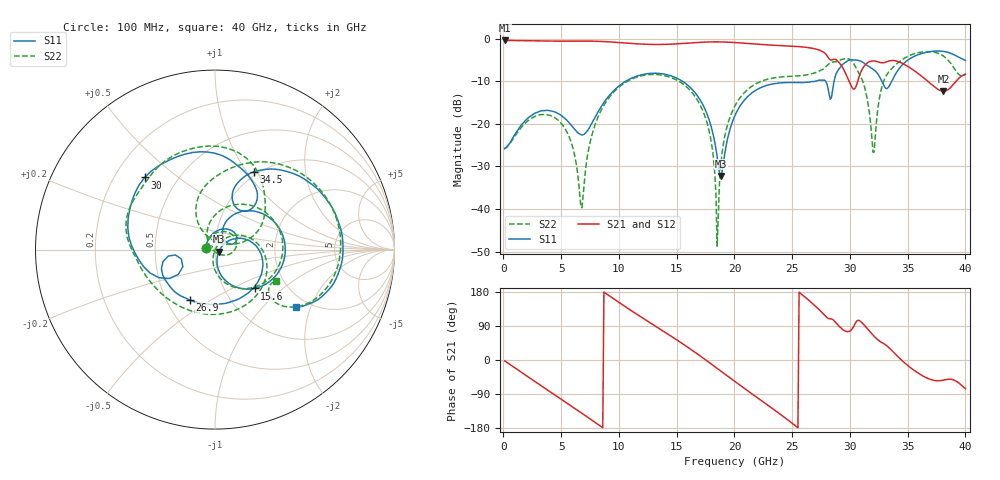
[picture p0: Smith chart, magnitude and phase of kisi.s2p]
! BV_ts_refinout2_q050: /TS-PCIe Components/REFINOUT2 via F.Cu→B.Cu at (204.176, 89.904)
! stackup: Thunderscope_Rev5.3 from the board file and its kisi.json
! ports: 1 in, 2 out
! kisi-fdtd, conformal, dfine 0.05 mm, 825588 cells
# Hz S RI R 50
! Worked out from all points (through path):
!   400 points, 100 MHz to 40 GHz, reference 50 ohm
!   highest |S21| = -0.45 dB at 100 MHz (marker M1); lowest = -12.4 dB at 38.1 GHz (marker M2)
!   group delay of S21, straight-line fit = 57.4 ps
!   lowest |S11| = -32.2 dB at 18.8 GHz (marker M3), VSWR 1.05, Z = 52.2 - j1.13 ohm
!   |S11| at or under -10 dB: start of sweep to 10.6 GHz; 15.48 GHz to 27.05 GHz (11.57 GHz wide, 54.4 % of centre); 32.76 GHz to 33.63 GHz (873.7 MHz wide, 2.63 % of centre)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
!   |S22| runs from -48.7 to -3.1 dB; largest |S21 - S12| = 0.0025
!   S11 on the Smith chart (normalised r, x): 100 MHz: 0.90, +0.01; 15.6 GHz: 1.38, -0.66; 26.9 GHz: 0.65, -0.41; 30 GHz: 0.33, +0.38; 34.5 GHz: 0.95, +1.08; 40 GHz: 1.71, -1.59
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1e8  -0.0505 0.00699  0.9484 -0.0347  0.9484 -0.0348  -0.0507 0.00728
4.6e9  0.1215 0.0576  -0.0803 -0.9276  -0.0803 -0.9277  0.1139 0.00565
6.8e9  0.0569 0.0471  -0.7217 -0.5933  -0.7217 -0.5934  -0.00902 -0.00508
8.6e9  0.0628 0.1575  -0.9221 -0.0198  -0.9221 -0.0199  -0.0272 0.1536
1.34e10  0.3884 -0.0379  0.0774 0.8477  0.0774 0.8476  0.376 -0.0197
1.56e10  0.2203 -0.2163  0.6592 0.5767  0.6592 0.5767  0.1938 -0.2148
1.79e10  0.0155 -0.1007  0.9023 -0.1337  0.9024 -0.1337  -0.0107 -0.0712
1.83e10  0.011 -0.0595  0.8717 -0.2737  0.8717 -0.2736  -0.00736 -0.0253
1.85e10  0.0129 -0.0394  0.8475 -0.3414  0.8476 -0.3414  -0.00032 -0.00365
1.88e10  0.0219 -0.0108  0.8003 -0.4388  0.8003 -0.4388  0.0166 0.0259
2.01e10  0.1139 0.0618  0.4744 -0.7601  0.4745 -0.7603  0.1473 0.0793
2.41e10  0.2129 -0.2143  -0.6839 -0.4604  -0.6839 -0.4608  0.1364 -0.3275
2.67e10  -0.1058 -0.2938  -0.6724 0.3772  -0.6711 0.3764  -0.2991 -0.2445
2.69e10  -0.1408 -0.2806  -0.6246 0.4338  -0.626 0.4329  -0.3297 -0.2137
2.84e10  -0.1792 -0.0953  -0.1755 0.5298  -0.1738 0.5317  -0.4866 0.201
3e10  -0.3922 0.4018  0.0701 0.2914  0.0686 0.2915  0.0752 0.5635
3.13e10  0.0886 0.4968  -0.00106 0.4855  -0.000736 0.4854  0.2382 0.1029
3.2e10  0.2056 0.3837  0.223 0.4986  0.2229 0.4975  0.0302 0.0349
3.34e10  0.1029 0.2565  0.4635 0.289  0.4625 0.2893  0.00954 0.4104
3.45e10  0.217 0.4338  0.5151 -0.00991  0.5153 -0.01  0.2777 0.4887
3.81e10  0.6994 -0.0968  0.1436 -0.1915  0.143 -0.192  0.559 -0.275
4e10  0.451 -0.3211  0.095 -0.37  0.0937 -0.3707  0.339 -0.1762
